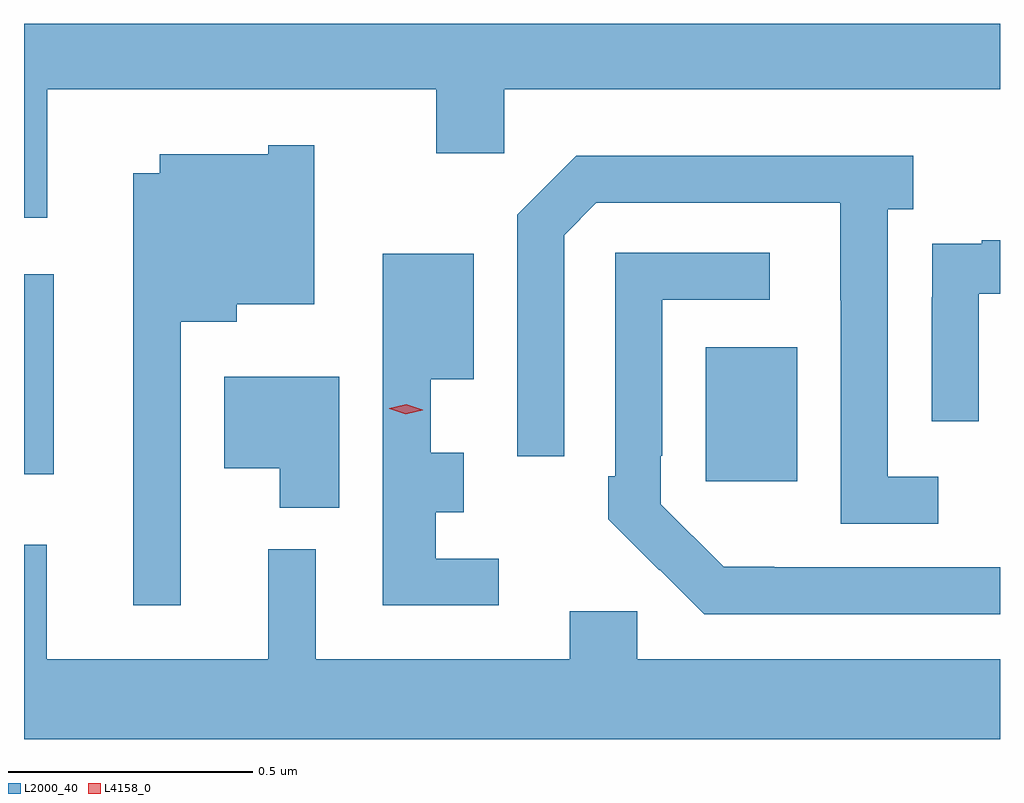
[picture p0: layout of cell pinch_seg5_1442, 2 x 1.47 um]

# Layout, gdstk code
import gdstk
lib = gdstk.Library(unit=1e-6, precision=1e-09)
def R(c, l, rs):  # rectangles x0, y0, x1, y1
    for r in rs: c.add(gdstk.rectangle(r[:2], r[2:], *l))
def P(c, l, *ps):  # polygons
    for p in ps: c.add(gdstk.Polygon(p, *l))
L2000_40 = (2000, 40)
L4158_0 = (4158, 0)

pinch_seg5_1442 = lib.new_cell('pinch_seg5_1442')
R(pinch_seg5_1442, L2000_40, [(167.129,910.569,167.317,910.843), (165.732,910.583,165.793,910.993)])
P(pinch_seg5_1442, L2000_40, [(165.78,911.372),(166.577,911.372),(166.577,911.241),(166.716,911.241),(166.716,911.372),(167.732,911.372),(167.732,911.506),(165.732,911.506),(165.732,911.109),(165.78,911.109)],
  [(166.053,910.895),(166.168,910.895),(166.168,910.931),(166.327,910.931),(166.327,911.257),(166.233,911.257),(166.233,911.239),(166.01,911.239),(166.01,911.2),(165.956,911.2),(165.956,910.314),(166.053,910.314)],
  [(167.605,910.578),(167.502,910.578),(167.502,911.126),(167.554,911.126),(167.554,911.236),(166.864,911.236),(166.743,911.115),(166.743,910.62),(166.839,910.62),(166.839,911.073),(166.905,911.139),(167.405,911.139),(167.405,910.939),(167.406,910.939),(167.406,910.482),(167.605,910.482)],
  [(167.688,910.953),(167.732,910.953),(167.732,911.062),(167.695,911.062),(167.695,911.055),(167.593,911.055),(167.593,910.946),(167.592,910.946),(167.592,910.692),(167.688,910.692)],
  [(167.732,910.392),(167.269,910.392),(167.269,910.393),(167.166,910.393),(167.037,910.521),(167.037,910.621),(167.04,910.621),(167.04,910.941),(167.26,910.941),(167.26,911.037),(166.944,911.037),(166.944,910.579),(166.929,910.579),(166.929,910.491),(167.034,910.386),(167.035,910.387),(167.126,910.296),(167.732,910.296)],
  [(166.705,910.41),(166.576,910.41),(166.576,910.505),(166.633,910.505),(166.633,910.627),(166.565,910.627),(166.565,910.778),(166.654,910.778),(166.654,911.035),(166.467,911.035),(166.467,910.314),(166.705,910.314)],
  [(166.378,910.783),(166.142,910.783),(166.142,910.595),(166.256,910.595),(166.256,910.514),(166.378,910.514)],
  [(167.732,910.204),(166.989,910.204),(166.989,910.302),(166.85,910.302),(166.85,910.204),(166.33,910.204),(166.33,910.429),(166.232,910.429),(166.232,910.204),(165.779,910.204),(165.779,910.438),(165.732,910.438),(165.732,910.04),(167.732,910.04)])
P(pinch_seg5_1442, L4158_0, [(166.514,910.706),(166.48,910.717),(166.48,910.717),(166.48,910.718),(166.515,910.726),(166.549,910.715),(166.549,910.714),(166.549,910.714)])

lib.write_gds('pinch_seg5_1442.gds')
